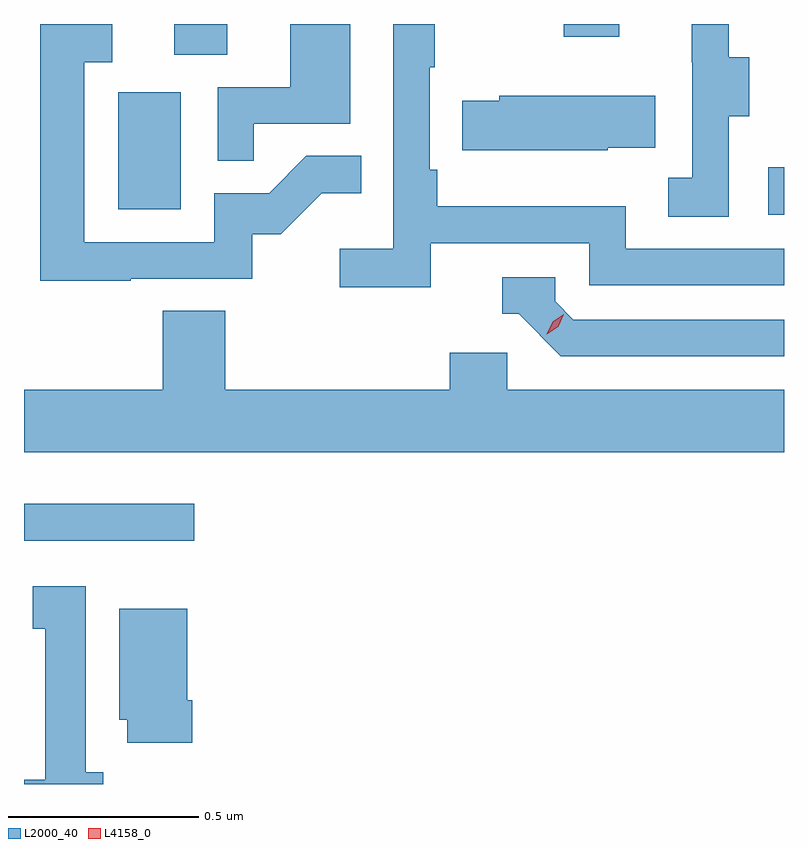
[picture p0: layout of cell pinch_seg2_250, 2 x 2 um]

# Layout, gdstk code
import gdstk
lib = gdstk.Library(unit=1e-6, precision=1e-09)
def R(c, l, rs):  # rectangles x0, y0, x1, y1
    for r in rs: c.add(gdstk.rectangle(r[:2], r[2:], *l))
def P(c, l, *ps):  # polygons
    for p in ps: c.add(gdstk.Polygon(p, *l))
L2000_40 = (2000, 40)
L4158_0 = (4158, 0)

pinch_seg2_250 = lib.new_cell('pinch_seg2_250')
R(pinch_seg2_250, L2000_40, [(926.088,652.731,926.536,652.828), (928.047,653.589,928.088,653.714), (926.336,653.604,926.5,653.911), (926.483,654.01,926.623,654.091), (927.508,654.057,927.655,654.091)])
P(pinch_seg2_250, L2000_40, [(927.158,653.514),(927.576,653.514),(927.576,653.403),(928.088,653.403),(928.088,653.499),(927.672,653.499),(927.672,653.611),(927.176,653.611),(927.176,653.707),(927.156,653.707),(927.156,653.977),(927.169,653.977),(927.169,654.091),(927.06,654.091),(927.06,653.5),(926.919,653.5),(926.919,653.398),(927.158,653.398)],
  [(926.369,653.421),(926.688,653.421),(926.688,653.538),(926.764,653.538),(926.871,653.645),(926.975,653.645),(926.975,653.744),(926.831,653.744),(926.733,653.646),(926.589,653.646),(926.589,653.517),(926.247,653.517),(926.247,653.991),(926.32,653.991),(926.32,654.091),(926.131,654.091),(926.131,653.416),(926.369,653.416)],
  [(927.942,653.848),(927.997,653.848),(927.997,654.003),(927.943,654.003),(927.943,654.091),(927.845,654.091),(927.845,653.991),(927.846,653.991),(927.846,653.687),(927.783,653.687),(927.783,653.584),(927.942,653.584)],
  [(926.693,653.829),(926.947,653.829),(926.947,654.091),(926.789,654.091),(926.789,653.925),(926.598,653.925),(926.598,653.731),(926.693,653.731)],
  [(927.624,653.765),(927.749,653.765),(927.749,653.902),(927.339,653.902),(927.339,653.889),(927.241,653.889),(927.241,653.759),(927.624,653.759)],
  [(928.088,653.313),(927.534,653.313),(927.486,653.361),(927.486,653.424),(927.347,653.424),(927.347,653.328),(927.39,653.328),(927.501,653.217),(928.088,653.217)],
  [(928.088,653.128),(927.36,653.128),(927.36,653.226),(927.209,653.226),(927.209,653.128),(926.618,653.128),(926.618,653.336),(926.453,653.336),(926.453,653.128),(926.088,653.128),(926.088,652.964),(928.088,652.964)],
  [(926.296,652.122),(926.251,652.122),(926.251,652.612),(926.111,652.612),(926.111,652.499),(926.144,652.499),(926.144,652.102),(926.088,652.102),(926.088,652.091),(926.296,652.091)],
  [(926.531,652.312),(926.518,652.312),(926.518,652.552),(926.339,652.552),(926.339,652.26),(926.36,652.26),(926.36,652.2),(926.531,652.2)])
P(pinch_seg2_250, L4158_0, [(927.463,653.275),(927.463,653.275),(927.479,653.308),(927.509,653.327),(927.509,653.327),(927.509,653.327),(927.494,653.294),(927.463,653.275)])

lib.write_gds('pinch_seg2_250.gds')
